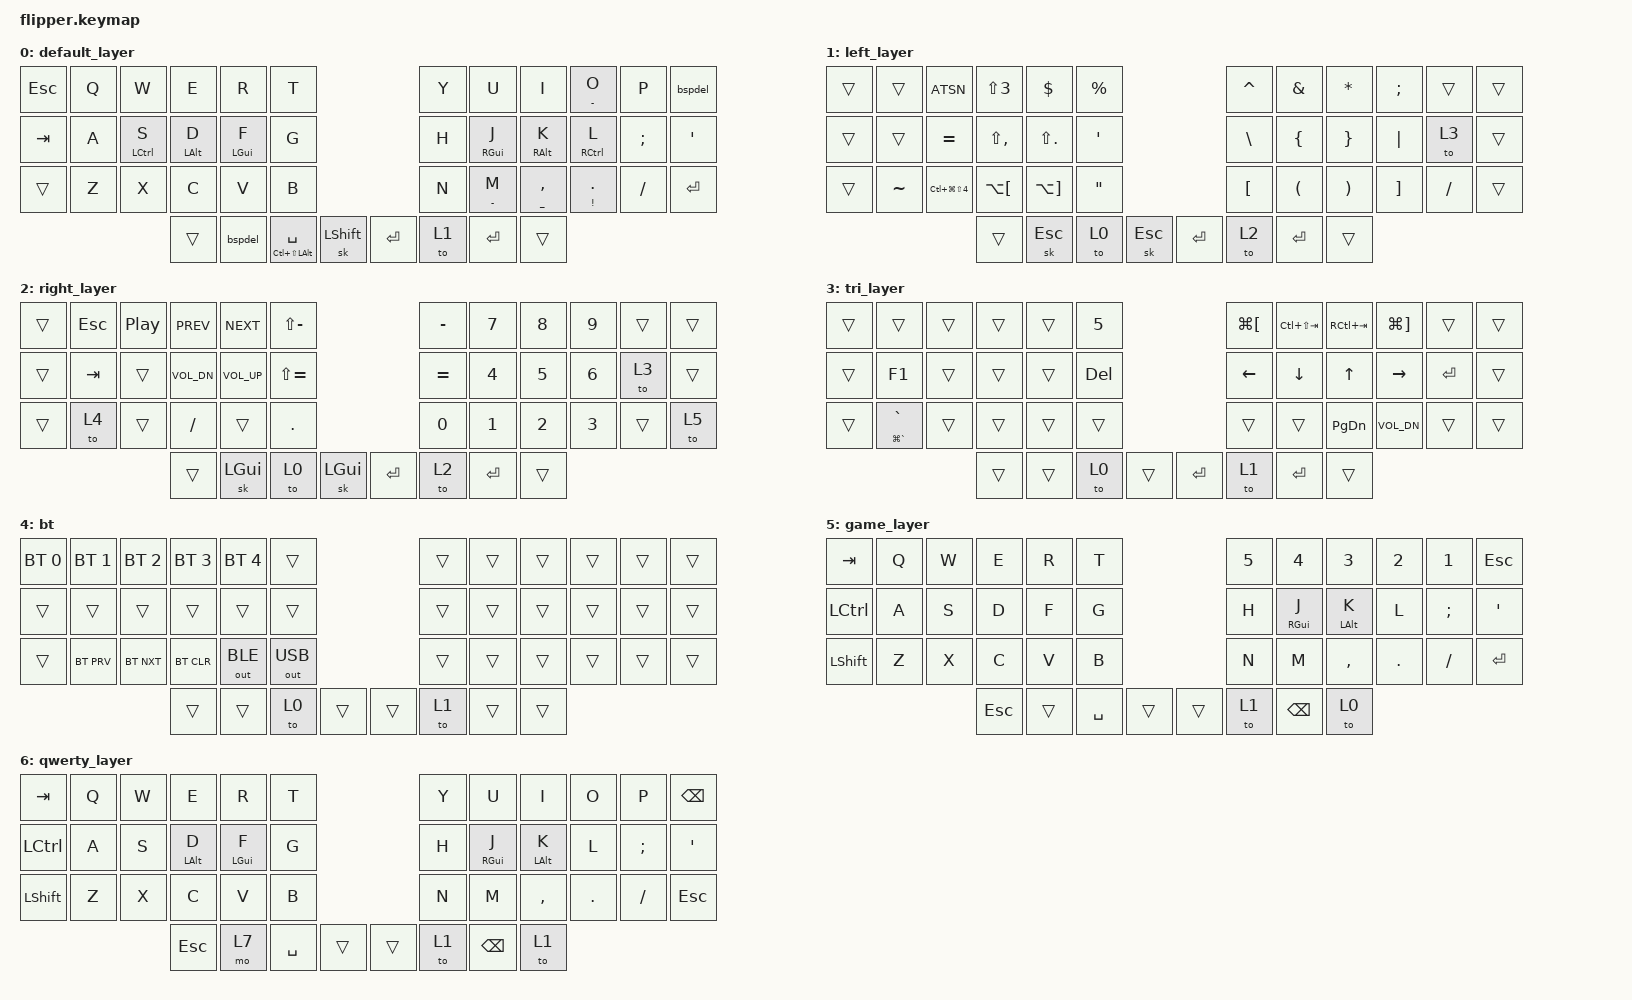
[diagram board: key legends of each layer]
/*
 * Copyright (c) 2020 The ZMK Contributors
 *
 * SPDX-License-Identifier: MIT
 */

#include <behaviors.dtsi>
#include <dt-bindings/zmk/keys.h>
#include <dt-bindings/zmk/bt.h>
//#include <dt-bindings/zmk/mouse.h>
#include <dt-bindings/zmk/outputs.h>


&mt {
    flavor = "tap-preferred";
    tapping_term_ms = <200>;
};

/*
&mmv {
   time-to-max-speed-ms = <680>;
   acceleration-exponent=<1>;
};
*/
/ { 


    behaviors {
		bspdel: backspace_del {
            compatible = "zmk,behavior-mod-morph";
            label = "BACKSPACE_DELETE";
            #binding-cells = <0>;
            bindings = <&kp BKSP>, <&kp DEL>;
            mods = <(MOD_LSFT|MOD_RSFT)>;
        };
        hm: homerow_mods {
            compatible = "zmk,behavior-hold-tap";
            label = "HOMEROW_MODS";
            #binding-cells = <2>;
            tapping-term-ms = <200>;
            quick_tap_ms = <0>;
            flavor = "tap-preferred";
            bindings = <&kp>, <&kp>;
        };
	td: tapdance {
            compatible = "zmk,behavior-hold-tap";
            label = "TAPDANCE";
            #binding-cells = <2>;
            tapping-term-ms = <150>;
            quick_tap_ms = <0>;
            flavor = "tap-preferred";
            bindings = <&kp>, <&kp>;
        };
    };

        keymap {
                compatible = "zmk,keymap";
        
		default_layer {

		bindings = <
		&kp ESCAPE			&kp Q				&kp W				&kp E				&kp R				&kp T															&kp Y				&kp U				&kp I					&td MINUS O			&kp P			    &bspdel
		&kp TAB				&kp A				&mt LCTRL S			&hm LALT D			&hm LGUI F			&kp G															&kp H				&hm RGUI J			&hm RALT K				&mt RCTRL L			&kp SEMICOLON		&kp SQT
		&trans				&kp Z				&kp X				&kp C				&kp V				&kp B															&kp N				&td MINUS M			&td UNDERSCORE COMMA	&td EXCL DOT		&kp SLASH			&kp ENTER
          															&trans				&bspdel				&mt LC(LS(LALT)) SPC &sk LSHIFT			&kp ENTER				&to 1				&kp ENTER			&trans
		>;
		};

		left_layer {
		bindings = <
		&trans				&trans				&kp ATSN			&kp LS(N3)			&kp DLLR			&kp PRCNT														&kp CARET			&kp AMPS			&kp STAR			&kp SEMI 			&trans				&trans
		&trans				&trans				&kp EQUAL			&kp LS(COMMA)		&kp LS(DOT)			&kp SQT															&kp BSLH			&kp LBRC			&kp RBRC			&kp PIPE			&to 3				&trans
		&trans				&kp TILDE			&kp LC(LG(LS(N4)))	&kp LA(LBKT)		&kp LA(RBKT)		&kp DQT															&kp LBKT			&kp LPRN			&kp RPRN			&kp RBKT			&kp SLASH			&trans
					    											&trans				&sk ESC				&to 0			 	&sk ESC				&kp ENTER				&to 2				&kp ENTER			&trans
		>;
		};
		
		right_layer {
		bindings = <
		&trans				&kp ESC				&kp C_PP			&kp C_PREV			&kp C_NEXT			&kp LS(MINUS)													&kp MINUS  			&kp N7				&kp N8				&kp N9				&trans				&trans
		&trans				&kp TAB				&trans				&kp C_VOL_DN		&kp C_VOL_UP		&kp LS(EQUAL)													&kp EQUAL			&kp N4				&kp N5				&kp N6				&to 3				&trans
		&trans				&to 4				&trans				&kp SLASH			&trans				&kp DOT			 												&kp N0				&kp N1				&kp N2				&kp N3				&trans				&to 5
					  												&trans				&sk LGUI			&to 0				&sk LGUI			&kp ENTER				&to 2				&kp ENTER			&trans
		>;
		};
		
		tri_layer {
		bindings = <
		//&trans				&trans				&mwh SCROLL_LEFT	&mmv MOVE_UP		&mwh SCROLL_RIGHT	&kp NUM_5														&kp LG(LBKT)		&kp LC(LS(TAB))		&kp RC(TAB)			&kp LG(RBKT)		&trans				&trans
		//&trans				&kp F1				&mmv MOVE_LEFT		&mmv MOVE_DOWN		&mmv MOVE_RIGHT		&kp DEL															&kp LEFT			&kp DOWN			&kp UP				&kp RIGHT			&kp ENTER			&trans
		//&trans				&td LG(GRAVE) GRAVE &mkp RCLK			&mwh SCROLL_UP		&mwh SCROLL_DOWN	&trans	   														&trans				&mkp LCLK			&kp PG_DN			&kp K_VOL_DN		&trans				&trans
		&trans				&trans				&trans			&trans		&trans		&kp NUM_5														&kp LG(LBKT)		&kp LC(LS(TAB))		&kp RC(TAB)			&kp LG(RBKT)		&trans				&trans
		&trans				&kp F1				&trans			&trans		&trans		&kp DEL															&kp LEFT			&kp DOWN			&kp UP				&kp RIGHT			&kp ENTER			&trans
		&trans				&td LG(GRAVE) GRAVE &trans			&trans		&trans		&trans	   														&trans				&trans				&kp PG_DN			&kp K_VOL_DN		&trans				&trans
																	&trans				&trans				&to 0				&trans				&kp ENTER				&to 1				&kp ENTER			&trans
					
		//&trans &trans  &trans    &trans    &trans    &kp NUM_5 			&kp LG(LBKT)   &kp LC(LS(TAB))   &kp RC(TAB) &kp LG(RBKT) &trans &trans
		//&trans &kp F1 &trans &trans &trans &kp DEL  						&kp LEFT &kp DOWN  &kp UP &kp RIGHT &trans &trans
		//&trans &td LG(GRAVE) GRAVE &trans  &trans &trans &trans   				&trans &kp PG_DN  &kp K_VOL_DN  &trans &trans   &trans

		>;
		};	
		bt {
		bindings = <
		&bt BT_SEL 0		&bt BT_SEL 1		&bt BT_SEL 2		&bt BT_SEL 3		&bt BT_SEL 4		&trans															&trans				&trans				&trans				&trans				&trans				&trans
		&trans				&trans				&trans				&trans				&trans				&trans 															&trans				&trans				&trans				&trans				&trans				&trans
		&trans				&bt BT_PRV			&bt BT_NXT			&bt BT_CLR			&out OUT_BLE		&out OUT_USB  													&trans				&trans				&trans				&trans				&trans				&trans
																	&trans				&trans				&to 0					&trans			&trans					&to 1				&trans				&trans
		>;
		};

		game_layer {
                        bindings = <
		&kp TAB				&kp Q				&kp W				&kp E				&kp R				&kp T															&kp N5				&kp N4				&kp N3				&kp N2				&kp N1				&kp ESC
    	&kp LCTRL			&kp A				&kp S				&kp D				&kp F				&kp G															&kp H				&mt RGUI J			&mt LALT K			&kp L				&kp SEMICOLON		&kp SQT
    	&kp LSHFT			&kp Z				&kp X				&kp C				&kp V				&kp B															&kp N				&kp M				&kp COMMA			&kp DOT				&kp SLASH			&kp ENTER
																	&kp ESC				&trans				&kp SPACE				&trans			&trans					&to 1				&kp BKSP			&to 0
                        >;
                };

		qwerty_layer {
                        bindings = <
    	&kp TAB     		&kp Q				&kp W				&kp E				&kp R				&kp T															&kp Y				&kp U				&kp I				&kp O				&kp P				&kp BSPC
    	&kp LCTRL   		&kp A				&kp S				&mt LALT D			&mt LGUI F			&kp G															&kp H				&mt RGUI J			&mt LALT K			&kp L				&kp SEMICOLON		&kp SQT
    	&kp LSHFT   		&kp Z				&kp X				&kp C				&kp V				&kp B															&kp N				&kp M				&kp COMMA			&kp DOT				&kp SLASH			&kp ESCAPE
																	&kp ESC				&mo 7				&kp SPACE				&trans			&trans					&to 1				&kp BACKSPACE		&to 1
                        >;
                };
	};
};
